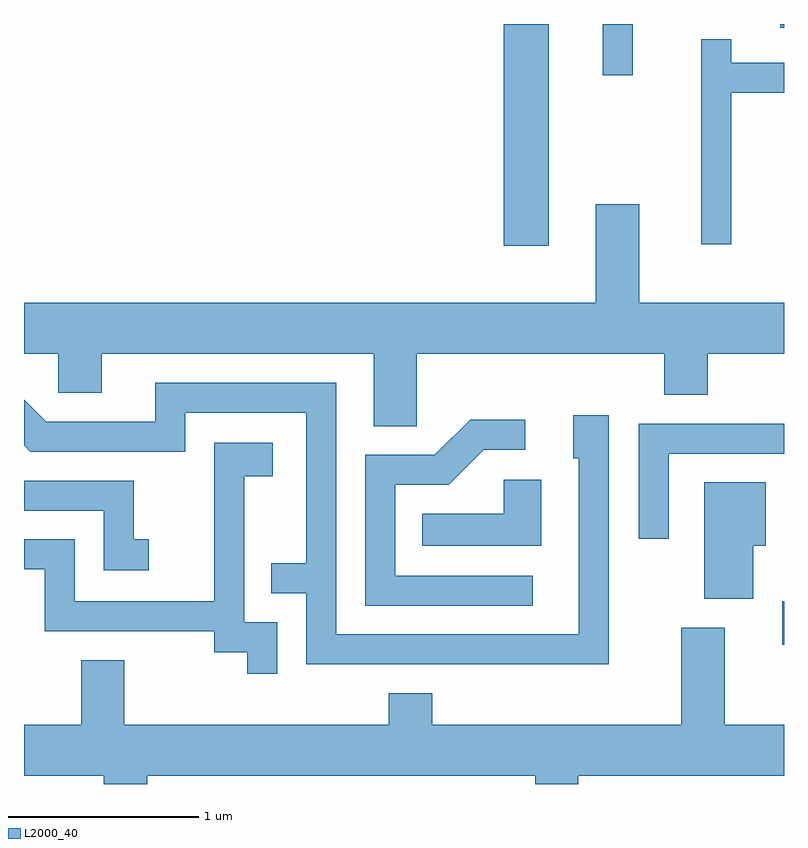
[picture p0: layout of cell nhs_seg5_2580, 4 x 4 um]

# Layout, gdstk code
import gdstk
lib = gdstk.Library(unit=1e-6, precision=1e-09)
def R(c, l, rs):  # rectangles x0, y0, x1, y1
    for r in rs: c.add(gdstk.rectangle(r[:2], r[2:], *l))
def P(c, l, *ps):  # polygons
    for p in ps: c.add(gdstk.Polygon(p, *l))
L2000_40 = (2000, 40)

nhs_seg5_2580 = lib.new_cell('nhs_seg5_2580')
R(nhs_seg5_2580, L2000_40, [(265.601,1470.806,265.611,1471.034), (264.136,1472.906,264.374,1474.072), (264.656,1473.803,264.814,1474.072), (265.591,1474.051,265.611,1474.072)])
P(nhs_seg5_2580, L2000_40, [(265.334,1473.711),(265.611,1473.711),(265.611,1473.869),(265.334,1473.869),(265.334,1473.993),(265.176,1473.993),(265.176,1472.913),(265.334,1472.913)],
  [(263.679,1472.336),(264.981,1472.336),(264.981,1472.121),(265.209,1472.121),(265.209,1472.336),(265.611,1472.336),(265.611,1472.604),(264.849,1472.604),(264.849,1473.124),(264.621,1473.124),(264.621,1472.604),(261.611,1472.604),(261.611,1472.336),(261.791,1472.336),(261.791,1472.131),(262.019,1472.131),(262.019,1472.336),(263.451,1472.336),(263.451,1471.956),(263.679,1471.956)],
  [(264.689,1472.014),(264.501,1472.014),(264.501,1471.786),(264.531,1471.786),(264.531,1470.859),(263.254,1470.859),(263.254,1472.184),(262.301,1472.184),(262.301,1471.979),(261.727,1471.979),(261.611,1472.095),(261.611,1471.854),(261.644,1471.821),(262.459,1471.821),(262.459,1472.026),(263.096,1472.026),(263.096,1471.234),(262.913,1471.234),(262.913,1471.076),(263.096,1471.076),(263.096,1470.701),(264.689,1470.701)],
  [(264.288,1471.169),(263.564,1471.169),(263.564,1471.646),(263.847,1471.646),(264.032,1471.831),(264.248,1471.831),(264.248,1471.989),(263.959,1471.989),(263.774,1471.804),(263.406,1471.804),(263.406,1471.011),(264.288,1471.011)],
  [(265.004,1471.811),(265.611,1471.811),(265.611,1471.969),(264.846,1471.969),(264.846,1471.363),(265.004,1471.363)],
  [(262.944,1470.924),(262.769,1470.924),(262.769,1471.691),(262.919,1471.691),(262.919,1471.869),(262.611,1471.869),(262.611,1471.034),(261.879,1471.034),(261.879,1471.359),(261.611,1471.359),(261.611,1471.201),(261.721,1471.201),(261.721,1470.876),(262.611,1470.876),(262.611,1470.766),(262.786,1470.766),(262.786,1470.653),(262.944,1470.653)],
  [(264.334,1471.674),(264.136,1471.674),(264.136,1471.494),(263.708,1471.494),(263.708,1471.326),(264.334,1471.326)],
  [(262.268,1471.359),(262.189,1471.359),(262.189,1471.669),(261.611,1471.669),(261.611,1471.511),(262.031,1471.511),(262.031,1471.196),(262.268,1471.196)],
  [(265.449,1471.326),(265.514,1471.326),(265.514,1471.659),(265.191,1471.659),(265.191,1471.046),(265.449,1471.046)],
  [(262.259,1470.116),(264.301,1470.116),(264.301,1470.072),(264.529,1470.072),(264.529,1470.116),(265.611,1470.116),(265.611,1470.384),(265.299,1470.384),(265.299,1470.894),(265.071,1470.894),(265.071,1470.384),(263.759,1470.384),(263.759,1470.549),(263.531,1470.549),(263.531,1470.384),(262.139,1470.384),(262.139,1470.724),(261.911,1470.724),(261.911,1470.384),(261.611,1470.384),(261.611,1470.116),(262.031,1470.116),(262.031,1470.072),(262.259,1470.072)])

lib.write_gds('nhs_seg5_2580.gds')
